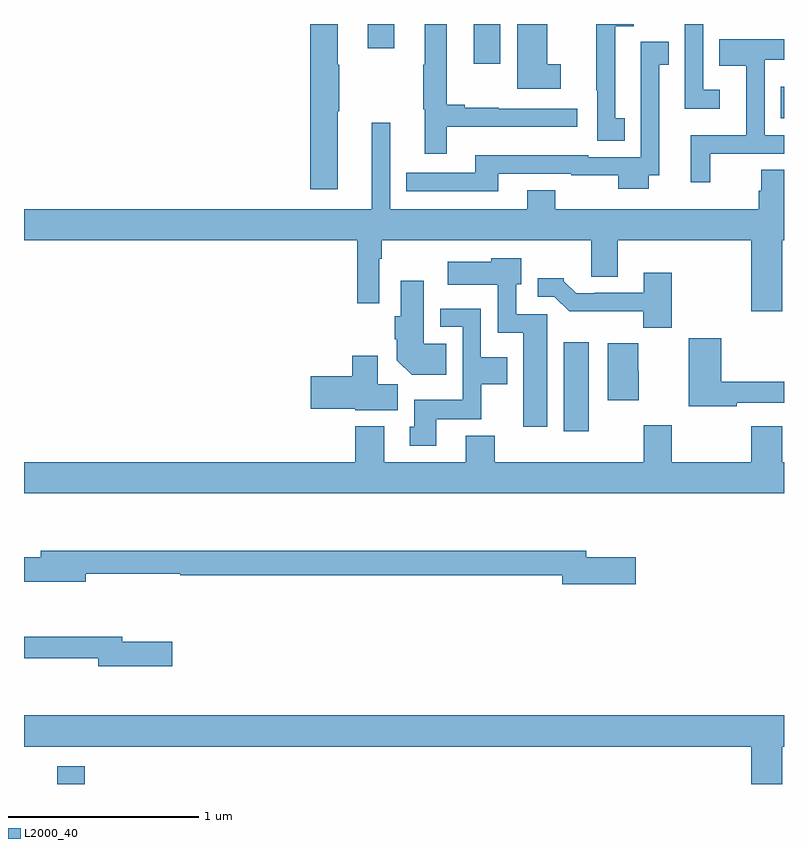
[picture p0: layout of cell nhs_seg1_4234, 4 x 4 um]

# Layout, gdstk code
import gdstk
lib = gdstk.Library(unit=1e-6, precision=1e-09)
def R(c, l, rs):  # rectangles x0, y0, x1, y1
    for r in rs: c.add(gdstk.rectangle(r[:2], r[2:], *l))
def P(c, l, *ps):  # polygons
    for p in ps: c.add(gdstk.Polygon(p, *l))
L2000_40 = (2000, 40)

nhs_seg1_4234 = lib.new_cell('nhs_seg1_4234')
R(nhs_seg1_4234, L2000_40, [(341.174,554.199,341.321,554.293), (343.841,556.056,343.972,556.525), (344.983,557.703,345,557.869), (343.367,557.991,343.507,558.199), (342.809,558.072,342.949,558.199)])
P(nhs_seg1_4234, L2000_40, [(343.825,557.988),(343.753,557.988),(343.753,558.198),(343.735,558.198),(343.735,558.199),(343.595,558.199),(343.595,557.858),(343.825,557.858)],
  [(344.662,557.854),(344.574,557.854),(344.574,558.199),(344.478,558.199),(344.478,557.753),(344.662,557.753)],
  [(344.162,557.703),(344.113,557.703),(344.113,558.186),(344.209,558.186),(344.209,558.199),(344.011,558.199),(344.011,557.851),(344.016,557.851),(344.016,557.584),(344.162,557.584)],
  [(342.652,557.74),(342.66,557.74),(342.66,557.984),(342.652,557.984),(342.652,558.199),(342.506,558.199),(342.506,557.328),(342.652,557.328)],
  [(343.225,557.657),(343.912,557.657),(343.912,557.754),(343.499,557.754),(343.499,557.757),(343.321,557.757),(343.321,557.774),(343.225,557.774),(343.225,558.199),(343.109,558.199),(343.109,557.984),(343.102,557.984),(343.102,557.751),(343.109,557.751),(343.109,557.517),(343.225,557.517)],
  [(344.612,557.517),(345,557.517),(345,557.613),(344.898,557.613),(344.898,558.011),(345,558.011),(345,558.118),(344.659,558.118),(344.659,557.978),(344.801,557.978),(344.801,557.614),(344.51,557.614),(344.51,557.367),(344.612,557.367)],
  [(343.495,557.412),(343.881,557.412),(343.881,557.402),(344.128,557.402),(344.128,557.333),(344.287,557.333),(344.287,557.403),(344.344,557.403),(344.344,557.985),(344.393,557.985),(344.393,558.106),(344.246,558.106),(344.246,557.782),(344.247,557.782),(344.247,557.499),(343.971,557.499),(343.971,557.509),(343.376,557.509),(343.376,557.415),(343.012,557.415),(343.012,557.319),(343.495,557.319)],
  [(344.992,557.06),(345,557.06),(345,557.432),(344.879,557.432),(344.879,557.322),(344.867,557.322),(344.867,557.224),(343.797,557.224),(343.797,557.323),(343.649,557.323),(343.649,557.224),(342.927,557.224),(342.927,557.68),(342.83,557.68),(342.83,557.224),(341,557.224),(341,557.06),(342.754,557.06),(342.754,556.728),(342.87,556.728),(342.87,556.964),(342.883,556.964),(342.883,557.06),(343.985,557.06),(343.985,556.87),(344.125,556.87),(344.125,557.06),(344.828,557.06),(344.828,556.686),(344.992,556.686)],
  [(343.753,556.671),(343.59,556.671),(343.59,556.83),(343.618,556.83),(343.618,556.966),(343.458,556.966),(343.458,556.948),(343.23,556.948),(343.23,556.826),(343.494,556.826),(343.494,556.574),(343.628,556.574),(343.628,556.08),(343.753,556.08)],
  [(344.409,556.891),(344.261,556.891),(344.261,556.785),(344.005,556.785),(344.005,556.782),(343.906,556.782),(343.842,556.846),(343.842,556.861),(343.703,556.861),(343.703,556.764),(343.791,556.764),(343.87,556.686),(344.259,556.686),(344.259,556.601),(344.409,556.601)],
  [(343.223,556.516),(343.105,556.516),(343.105,556.849),(342.983,556.849),(342.983,556.662),(342.95,556.662),(342.95,556.54),(342.962,556.54),(342.962,556.43),(343.04,556.352),(343.223,556.352)],
  [(343.171,556.118),(343.407,556.118),(343.407,556.304),(343.543,556.304),(343.543,556.444),(343.404,556.444),(343.404,556.701),(343.191,556.701),(343.191,556.605),(343.308,556.605),(343.308,556.222),(343.055,556.222),(343.055,556.08),(343.031,556.08),(343.031,555.978),(343.171,555.978)],
  [(344.752,556.206),(345,556.206),(345,556.315),(344.669,556.315),(344.669,556.546),(344.498,556.546),(344.498,556.186),(344.752,556.186)],
  [(344.236,556.371),(344.234,556.371),(344.234,556.519),(344.072,556.519),(344.072,556.218),(344.236,556.218)],
  [(342.967,556.304),(342.862,556.304),(342.862,556.453),(342.728,556.453),(342.728,556.346),(342.51,556.346),(342.51,556.175),(342.744,556.175),(342.744,556.166),(342.967,556.166)],
  [(345,555.892),(344.992,555.892),(344.992,556.081),(344.828,556.081),(344.828,555.892),(344.409,555.892),(344.409,556.087),(344.261,556.087),(344.261,555.892),(343.478,555.892),(343.478,556.033),(343.325,556.033),(343.325,555.892),(342.895,555.892),(342.895,556.081),(342.743,556.081),(342.743,555.892),(341,555.892),(341,555.728),(345,555.728)],
  [(344.221,555.393),(343.96,555.393),(343.96,555.427),(341.087,555.427),(341.087,555.393),(341,555.393),(341,555.263),(341.326,555.263),(341.326,555.306),(341.822,555.306),(341.822,555.298),(343.832,555.298),(343.832,555.251),(344.221,555.251)],
  [(341.779,554.949),(341.518,554.949),(341.518,554.975),(341,554.975),(341,554.862),(341.39,554.862),(341.39,554.819),(341.779,554.819)],
  [(344.992,554.396),(345,554.396),(345,554.56),(341,554.56),(341,554.396),(344.828,554.396),(344.828,554.199),(344.992,554.199)])

lib.write_gds('nhs_seg1_4234.gds')
